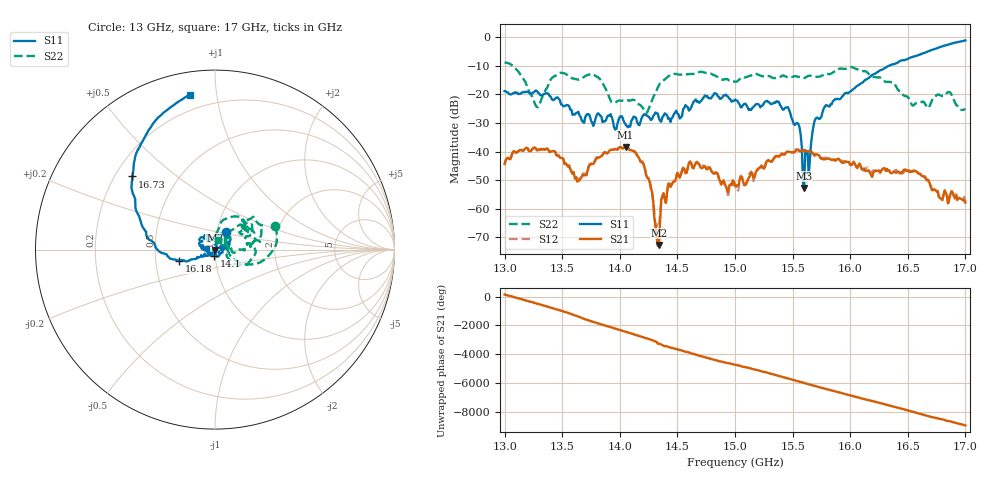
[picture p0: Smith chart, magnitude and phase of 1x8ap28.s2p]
!Keysight Technologies,P9374A,MY57211807,A.19.30.04
!Date: Friday, May 08, 2026 14:35:00
!Correction: S11(C  2-Port  )
!S21(C  2-Port  )
!S12(C  2-Port  )
!S22(C  2-Port  )
!S2P File: Measurements: S11, S21, S12, S22:
# Hz S  dB  R 50
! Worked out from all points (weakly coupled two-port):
!   401 points, 13 GHz to 17 GHz, reference 50 ohm
!   highest |S21| = -38.38 dB at 14.05 GHz (marker M1); lowest = -72.7 dB at 14.34 GHz (marker M2)
!   lowest |S11| = -52.7 dB at 15.6 GHz (marker M3), VSWR 1.00, Z = 49.9 - j0.193 ohm
!   |S11| at or under -10 dB: start of sweep to 16.34 GHz
!   |S22| runs from -26.5 to -8.9 dB; largest |S21 - S12| = 0.00094
!   S11 on the Smith chart (normalised r, x): 13 GHz: 1.11, +0.22; 14.1 GHz: 0.99, -0.07; 16.18 GHz: 0.66, -0.08; 16.73 GHz: 0.27, +0.35; 17 GHz: 0.12, +0.84
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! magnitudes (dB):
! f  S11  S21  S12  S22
! 13 GHz  -18.9  -44.3  -44.5  -8.9
! 13.28 GHz  -18.8  -39.5  -39.6  -24.5
! 13.46 GHz  -21.1  -41.5  -41.5  -12.9
! 13.67 GHz  -29.1  -48.7  -48.8  -14.5
! 14.05 GHz  -30.6  -38.4  -38.3  -22.0
! 14.1 GHz  -29.3  -39.5  -39.7  -22.0
! 14.23 GHz  -27.3  -48.5  -48.2  -26.5
! 14.32 GHz  -26.6  -70.0  -65.3  -18.6
! 14.34 GHz  -28.4  -72.7  -66.3  -16.8
! 14.38 GHz  -27.5  -54.5  -55.3  -15.1
! 14.61 GHz  -25.3  -43.5  -43.5  -12.9
! 15 GHz  -21.9  -51.9  -52.1  -15.6
! 15.46 GHz  -24.5  -40.0  -40.1  -14.0
! 15.55 GHz  -30.4  -39.3  -39.2  -13.9
! 15.6 GHz  -52.7  -39.8  -39.5  -14.3
! 15.67 GHz  -34.1  -40.3  -40.3  -13.6
! 15.79 GHz  -23.8  -42.7  -42.1  -12.8
! 16.18 GHz  -13.6  -48.0  -47.3  -13.6
! 16.34 GHz  -10.0  -46.7  -46.5  -15.6
! 16.55 GHz  -6.8  -46.7  -46.7  -23.9
! 16.73 GHz  -4.2  -53.2  -53.0  -21.0
! 17 GHz  -1.2  -57.9  -57.5  -25.1
